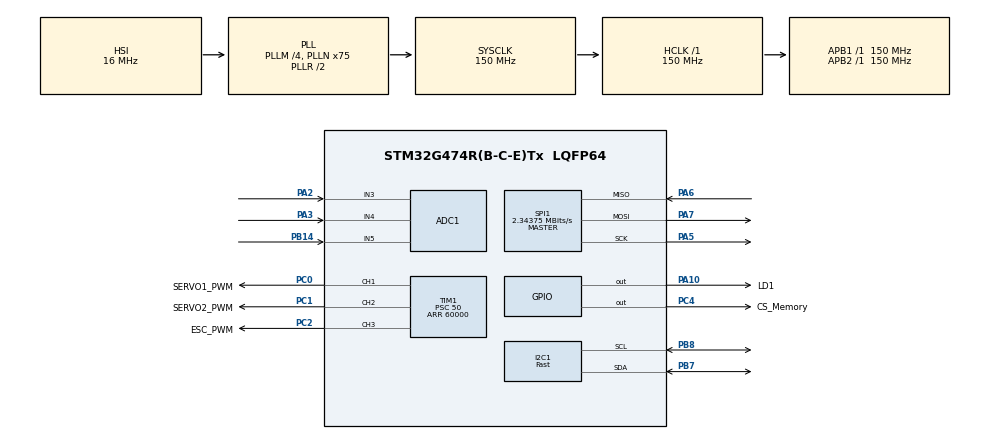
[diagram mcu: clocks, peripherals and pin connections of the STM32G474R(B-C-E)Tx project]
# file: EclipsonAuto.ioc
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ADC1.Channel-2\#ChannelRegularConversion=ADC_CHANNEL_4
ADC1.Channel-3\#ChannelRegularConversion=ADC_CHANNEL_5
ADC1.Channel-4\#ChannelRegularConversion=ADC_CHANNEL_3
ADC1.ContinuousConvMode=ENABLE
ADC1.DMAContinuousRequests=ENABLE
ADC1.DataAlign=ADC_DATAALIGN_RIGHT
ADC1.NbrOfConversion=3
ADC1.NbrOfConversionFlag=1
ADC1.OffsetNumber-2\#ChannelRegularConversion=ADC_OFFSET_NONE
ADC1.OffsetNumber-3\#ChannelRegularConversion=ADC_OFFSET_NONE
ADC1.OffsetNumber-4\#ChannelRegularConversion=ADC_OFFSET_NONE
ADC1.Overrun=ADC_OVR_DATA_OVERWRITTEN
ADC1.Rank-2\#ChannelRegularConversion=1
ADC1.Rank-3\#ChannelRegularConversion=2
ADC1.Rank-4\#ChannelRegularConversion=3
ADC1.SamplingTime-2\#ChannelRegularConversion=ADC_SAMPLETIME_92CYCLES_5
ADC1.SamplingTime-3\#ChannelRegularConversion=ADC_SAMPLETIME_92CYCLES_5
ADC1.SamplingTime-4\#ChannelRegularConversion=ADC_SAMPLETIME_92CYCLES_5
ADC1.master=1
Dma.ADC1.0.Direction=DMA_PERIPH_TO_MEMORY
Dma.ADC1.0.EventEnable=DISABLE
Dma.ADC1.0.Instance=DMA1_Channel1
Dma.ADC1.0.MemDataAlignment=DMA_MDATAALIGN_WORD
Dma.ADC1.0.MemInc=DMA_MINC_ENABLE
Dma.ADC1.0.Mode=DMA_CIRCULAR
Dma.ADC1.0.PeriphDataAlignment=DMA_PDATAALIGN_WORD
Dma.ADC1.0.PeriphInc=DMA_PINC_DISABLE
Dma.ADC1.0.Polarity=HAL_DMAMUX_REQ_GEN_RISING
Dma.ADC1.0.Priority=DMA_PRIORITY_LOW
Dma.ADC1.0.RequestNumber=1
Dma.ADC1.0.SignalID=NONE
Dma.ADC1.0.SyncEnable=DISABLE
Dma.ADC1.0.SyncPolarity=HAL_DMAMUX_SYNC_NO_EVENT
Dma.ADC1.0.SyncRequestNumber=1
Dma.ADC1.0.SyncSignalID=NONE
Dma.Request0=ADC1
I2C1.I2C_Speed_Mode=I2C_Fast
I2C1.Timing=0x00E063FF
Mcu.Family=STM32G4
Mcu.Name=STM32G474R(B-C-E)Tx
Mcu.Package=LQFP64
NVIC.DMA1_Channel1_IRQn=true\:0\:0\:false\:false\:true\:false\:true\:true
NVIC.PriorityGroup=NVIC_PRIORITYGROUP_4
PA10.GPIO_Label=LD1
PA10.Signal=GPIO_Output
PA13.Mode=Trace_Asynchronous_SW
PA13.Signal=SYS_JTMS-SWDIO
PA14.Mode=Trace_Asynchronous_SW
PA14.Signal=SYS_JTCK-SWCLK
PA2.Mode=IN3-Single-Ended
PA2.Signal=ADC1_IN3
PA3.Mode=IN4-Single-Ended
PA3.Signal=ADC1_IN4
PA5.GPIO_PuPd=GPIO_NOPULL
PA5.Mode=Full_Duplex_Master
PA5.Signal=SPI1_SCK
PA6.GPIO_PuPd=GPIO_NOPULL
PA6.Mode=Full_Duplex_Master
PA6.Signal=SPI1_MISO
PA7.GPIO_PuPd=GPIO_NOPULL
PA7.Mode=Full_Duplex_Master
PA7.Signal=SPI1_MOSI
PB14.Signal=SharedAnalog_PB14
PB3.Mode=Trace_Asynchronous_SW
PB3.Signal=SYS_JTDO-SWO
PB7.Mode=I2C
PB7.Signal=I2C1_SDA
PB8-BOOT0.Mode=I2C
PB8-BOOT0.Signal=I2C1_SCL
PC0.GPIO_Label=SERVO1_PWM
PC0.GPIO_ModeDefaultPP=GPIO_MODE_AF_OD
PC0.Signal=S_TIM1_CH1
PC1.GPIO_Label=SERVO2_PWM
PC1.GPIO_ModeDefaultPP=GPIO_MODE_AF_OD
PC1.Signal=S_TIM1_CH2
PC2.GPIO_Label=ESC_PWM
PC2.GPIO_ModeDefaultPP=GPIO_MODE_AF_OD
PC2.Signal=S_TIM1_CH3
PC4.GPIO_Label=CS_Memory
PC4.GPIO_PuPd=GPIO_PULLDOWN
PC4.Signal=GPIO_Output
ProjectManager.HeapSize=0x200
ProjectManager.StackSize=0x400
ProjectManager.TargetToolchain=STM32CubeIDE
RCC.ADC12Freq_Value=150000000
RCC.ADC345Freq_Value=150000000
RCC.AHBFreq_Value=150000000
RCC.APB1Freq_Value=150000000
RCC.APB1TimFreq_Value=150000000
RCC.APB2Freq_Value=150000000
RCC.APB2TimFreq_Value=150000000
RCC.CortexFreq_Value=150000000
RCC.EXTERNAL_CLOCK_VALUE=12288000
RCC.HCLKFreq_Value=150000000
RCC.HSE_VALUE=8000000
RCC.HSI48_VALUE=48000000
RCC.HSI_VALUE=16000000
RCC.LSE_VALUE=32768
RCC.PLLM=RCC_PLLM_DIV4
RCC.PLLN=75
RCC.SYSCLKFreq_VALUE=150000000
RCC.SYSCLKSource=RCC_SYSCLKSOURCE_PLLCLK
RCC.USBFreq_Value=150000000
RCC.VCOOutputFreq_Value=300000000
SH.S_TIM1_CH1.0=TIM1_CH1,PWM Generation1 CH1
SH.S_TIM1_CH2.0=TIM1_CH2,PWM Generation2 CH2
SH.S_TIM1_CH3.0=TIM1_CH3,PWM Generation3 CH3
SH.SharedAnalog_PB14.0=ADC4_IN4
SH.SharedAnalog_PB14.1=ADC1_IN5,IN5-Single-Ended
SPI1.BaudRatePrescaler=SPI_BAUDRATEPRESCALER_64
SPI1.CLKPhase=SPI_PHASE_2EDGE
SPI1.CLKPolarity=SPI_POLARITY_HIGH
SPI1.CalculateBaudRate=2.34375 MBits/s
SPI1.DataSize=SPI_DATASIZE_8BIT
SPI1.Direction=SPI_DIRECTION_2LINES
SPI1.Mode=SPI_MODE_MASTER
SPI1.VirtualType=VM_MASTER
TIM1.Channel-PWM\ Generation1\ CH1=TIM_CHANNEL_1
TIM1.Channel-PWM\ Generation2\ CH2=TIM_CHANNEL_2
TIM1.Channel-PWM\ Generation3\ CH3=TIM_CHANNEL_3
TIM1.PeriodNoDither=60000
TIM1.Prescaler=50
TIM1.PulseNoDither_3=3000
VP_TIM1_VS_ClockSourceINT.Mode=Internal
board=custom

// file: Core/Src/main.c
/* USER CODE BEGIN Header */
/**
  ******************************************************************************
  * @file           : main.c
  * @brief          : Main program body
  ******************************************************************************
  * @attention
  *
  * Copyright (c) 2023 STMicroelectronics.
  * All rights reserved.
  *
  * This software is licensed under terms that can be found in the LICENSE file
  * in the root directory of this software component.
  * If no LICENSE file comes with this software, it is provided AS-IS.
  *
  ******************************************************************************
  */
/* USER CODE END Header */
#include "main.h"

/* USER CODE BEGIN Includes */
#include "adc_voltage_current_measurement.h"
#include "mpu6050.h"
#include "at25x041b.h"
#include "propulsion_and_control.h"
#include "pid.h"
#include "wio-e5.h"
#include "l80-m39.h"
/* USER CODE END Includes */

ADC_HandleTypeDef hadc1;
DMA_HandleTypeDef hdma_adc1;
I2C_HandleTypeDef hi2c1;
SPI_HandleTypeDef hspi1;
TIM_HandleTypeDef htim1;

/* USER CODE BEGIN PV */

//-------------------------- Struct definition for motor control and sensor measurement--------------------------
POWER_t hpower;
MPU6050_t hmpu6050;
AT25X041B_t hmemory;
PROPULSION_t hcontrol;
COMMAND_t hcommand;

//-------------------------- Struct definition for PID --------------------------

arm_pid_instance_f32 hpid_pitch;
arm_pid_instance_f32 hpid_yaw;
arm_pid_instance_f32 hpid_roll;
arm_pid_instance_f32 hpid_speed;
arm_pid_instance_f32 hpid_altitude;

//Result of the ADC conversion --> made by DMA
uint32_t adc_conversion[ADC_CHANNEL_NUMBER];

/* USER CODE END PV */

void SystemClock_Config(void);
static void MX_GPIO_Init(void);
static void MX_DMA_Init(void);
static void MX_TIM1_Init(void);
static void MX_ADC1_Init(void);
static void MX_I2C1_Init(void);
static void MX_SPI1_Init(void);

int main(void)
{

  /* MCU Configuration--------------------------------------------------------*/

  /* Reset of all peripherals, Initializes the Flash interface and the Systick. */
  HAL_Init();

  /* Configure the system clock */
  SystemClock_Config();

  /* Initialize all configured peripherals */
  MX_GPIO_Init();
  MX_DMA_Init();
  MX_TIM1_Init();
  MX_ADC1_Init();
  MX_I2C1_Init();
  MX_SPI1_Init();
  /* USER CODE BEGIN 2 */
  HAL_ADCEx_Calibration_Start(&hadc1, ADC_SINGLE_ENDED);
  HAL_ADC_Start_DMA(&hadc1, &adc_conversion, ADC_CHANNEL_NUMBER);
  HAL_TIM_Base_Start(&htim1);
  HAL_TIM_PWM_Start(&htim1, TIM_CHANNEL_1);
  HAL_TIM_PWM_Start(&htim1, TIM_CHANNEL_2);
  HAL_TIM_PWM_Start(&htim1, TIM_CHANNEL_3);

  //-------------------------- Init for sensor and motor control --------------------------

  MPU6050_Init(&hi2c1,&hmpu6050);
  AT25X041B_Init(&hspi1,&hmemory,CS_Memory_GPIO_Port,CS_Memory_Pin);
  PropulsionAndControl_Init(&hcontrol, ESC_PWM_Pin, ESC_PWM_GPIO_Port, SERVO1_PWM_Pin, SERVO1_PWM_GPIO_Port, SERVO2_PWM_Pin, SERVO2_PWM_GPIO_Port, 3, 1, 2, &htim1);

  //-------------------------- Init for PID --------------------------
  Pid_Init(&hpid_altitude, PID_KP_ALTITUDE, PID_KI_ALTITUDE, PID_KD_ALTITUDE);
  Pid_Init(&hpid_speed, PID_KP_SPEED, PID_KI_SPEED, PID_KD_SPEED);
  Pid_Init(&hpid_roll, PID_KP_ROLL, PID_KI_ROLL, PID_KD_ROLL);
  Pid_Init(&hpid_pitch, PID_KP_PITCH, PID_KI_PITCH, PID_KD_PITCH);
  Pid_Init(&hpid_yaw, PID_KP_YAW, PID_KI_YAW, PID_KD_YAW);

  //test
  hcommand.pitch_angle = 10;
  /* USER CODE END 2 */

  /* Infinite loop */
  while (1)
  {

    /* USER CODE BEGIN 3 */

	  HAL_GPIO_TogglePin(LD1_GPIO_Port, LD1_Pin);
	  MPU6050_Get_Gyro(&hi2c1, &hmpu6050);
	  Pid_CompensatePitch(&hpid_pitch, &hcommand, &hmpu6050, &hcontrol);

	  HAL_Delay(250);

	  //CURRENT_Measurement_Calculation(&hpower,adc_conversion[ADC_CURRENT0_RANK],adc_conversion[ADC_CURRENT1_RANK]);
	  //Battery_Monitoring_Calculation(&hpower,adc_conversion[ADC_VOLTAGE_RANK]);
	  //MPU6050_Wakeup(&hi2c1,&hmpu6050);
	  //MPU6050_Get_Accel(&hi2c1,&hmpu6050);
	  //MPU6050_Get_Gyro(&hi2c1,&hmpu6050);

  }
  /* USER CODE END 3 */
}

void SystemClock_Config(void)
{
  RCC_OscInitTypeDef RCC_OscInitStruct = {0};
  RCC_ClkInitTypeDef RCC_ClkInitStruct = {0};

  /** Configure the main internal regulator output voltage
  */
  HAL_PWREx_ControlVoltageScaling(PWR_REGULATOR_VOLTAGE_SCALE1);

  /** Initializes the RCC Oscillators according to the specified parameters
  * in the RCC_OscInitTypeDef structure.
  */
  RCC_OscInitStruct.OscillatorType = RCC_OSCILLATORTYPE_HSI;
  RCC_OscInitStruct.HSIState = RCC_HSI_ON;
  RCC_OscInitStruct.HSICalibrationValue = RCC_HSICALIBRATION_DEFAULT;
  RCC_OscInitStruct.PLL.PLLState = RCC_PLL_ON;
  RCC_OscInitStruct.PLL.PLLSource = RCC_PLLSOURCE_HSI;
  RCC_OscInitStruct.PLL.PLLM = RCC_PLLM_DIV4;
  RCC_OscInitStruct.PLL.PLLN = 75;
  RCC_OscInitStruct.PLL.PLLP = RCC_PLLP_DIV2;
  RCC_OscInitStruct.PLL.PLLQ = RCC_PLLQ_DIV2;
  RCC_OscInitStruct.PLL.PLLR = RCC_PLLR_DIV2;
  if (HAL_RCC_OscConfig(&RCC_OscInitStruct) != HAL_OK)
  {
    Error_Handler();
  }

  /** Initializes the CPU, AHB and APB buses clocks
  */
  RCC_ClkInitStruct.ClockType = RCC_CLOCKTYPE_HCLK|RCC_CLOCKTYPE_SYSCLK
                              |RCC_CLOCKTYPE_PCLK1|RCC_CLOCKTYPE_PCLK2;
  RCC_ClkInitStruct.SYSCLKSource = RCC_SYSCLKSOURCE_PLLCLK;
  RCC_ClkInitStruct.AHBCLKDivider = RCC_SYSCLK_DIV1;
  RCC_ClkInitStruct.APB1CLKDivider = RCC_HCLK_DIV1;
  RCC_ClkInitStruct.APB2CLKDivider = RCC_HCLK_DIV1;

  if (HAL_RCC_ClockConfig(&RCC_ClkInitStruct, FLASH_LATENCY_4) != HAL_OK)
  {
    Error_Handler();
  }
}

static void MX_ADC1_Init(void)
{

  ADC_MultiModeTypeDef multimode = {0};
  ADC_ChannelConfTypeDef sConfig = {0};

  /** Common config
  */
  hadc1.Instance = ADC1;
  hadc1.Init.ClockPrescaler = ADC_CLOCK_SYNC_PCLK_DIV4;
  hadc1.Init.Resolution = ADC_RESOLUTION_12B;
  hadc1.Init.DataAlign = ADC_DATAALIGN_RIGHT;
  hadc1.Init.GainCompensation = 0;
  hadc1.Init.ScanConvMode = ADC_SCAN_ENABLE;
  hadc1.Init.EOCSelection = ADC_EOC_SINGLE_CONV;
  hadc1.Init.LowPowerAutoWait = DISABLE;
  hadc1.Init.ContinuousConvMode = ENABLE;
  hadc1.Init.NbrOfConversion = 3;
  hadc1.Init.DiscontinuousConvMode = DISABLE;
  hadc1.Init.ExternalTrigConv = ADC_SOFTWARE_START;
  hadc1.Init.ExternalTrigConvEdge = ADC_EXTERNALTRIGCONVEDGE_NONE;
  hadc1.Init.DMAContinuousRequests = ENABLE;
  hadc1.Init.Overrun = ADC_OVR_DATA_OVERWRITTEN;
  hadc1.Init.OversamplingMode = DISABLE;
  if (HAL_ADC_Init(&hadc1) != HAL_OK)
  {
    Error_Handler();
  }

  /** Configure the ADC multi-mode
  */
  multimode.Mode = ADC_MODE_INDEPENDENT;
  if (HAL_ADCEx_MultiModeConfigChannel(&hadc1, &multimode) != HAL_OK)
  {
    Error_Handler();
  }

  /** Configure Regular Channel
  */
  sConfig.Channel = ADC_CHANNEL_4;
  sConfig.Rank = ADC_REGULAR_RANK_1;
  sConfig.SamplingTime = ADC_SAMPLETIME_92CYCLES_5;
  sConfig.SingleDiff = ADC_SINGLE_ENDED;
  sConfig.OffsetNumber = ADC_OFFSET_NONE;
  sConfig.Offset = 0;
  if (HAL_ADC_ConfigChannel(&hadc1, &sConfig) != HAL_OK)
  {
    Error_Handler();
  }

  /** Configure Regular Channel
  */
  sConfig.Channel = ADC_CHANNEL_5;
  sConfig.Rank = ADC_REGULAR_RANK_2;
  if (HAL_ADC_ConfigChannel(&hadc1, &sConfig) != HAL_OK)
  {
    Error_Handler();
  }

  /** Configure Regular Channel
  */
  sConfig.Channel = ADC_CHANNEL_3;
  sConfig.Rank = ADC_REGULAR_RANK_3;
  if (HAL_ADC_ConfigChannel(&hadc1, &sConfig) != HAL_OK)
  {
    Error_Handler();
  }

}

static void MX_I2C1_Init(void)
{

  hi2c1.Instance = I2C1;
  hi2c1.Init.Timing = 0x00E063FF;
  hi2c1.Init.OwnAddress1 = 0;
  hi2c1.Init.AddressingMode = I2C_ADDRESSINGMODE_7BIT;
  hi2c1.Init.DualAddressMode = I2C_DUALADDRESS_DISABLE;
  hi2c1.Init.OwnAddress2 = 0;
  hi2c1.Init.OwnAddress2Masks = I2C_OA2_NOMASK;
  hi2c1.Init.GeneralCallMode = I2C_GENERALCALL_DISABLE;
  hi2c1.Init.NoStretchMode = I2C_NOSTRETCH_DISABLE;
  if (HAL_I2C_Init(&hi2c1) != HAL_OK)
  {
    Error_Handler();
  }

  /** Configure Analogue filter
  */
  if (HAL_I2CEx_ConfigAnalogFilter(&hi2c1, I2C_ANALOGFILTER_ENABLE) != HAL_OK)
  {
    Error_Handler();
  }

  /** Configure Digital filter
  */
  if (HAL_I2CEx_ConfigDigitalFilter(&hi2c1, 0) != HAL_OK)
  {
    Error_Handler();
  }

}

static void MX_SPI1_Init(void)
{

  /* SPI1 parameter configuration*/
  hspi1.Instance = SPI1;
  hspi1.Init.Mode = SPI_MODE_MASTER;
  hspi1.Init.Direction = SPI_DIRECTION_2LINES;
  hspi1.Init.DataSize = SPI_DATASIZE_8BIT;
  hspi1.Init.CLKPolarity = SPI_POLARITY_HIGH;
  hspi1.Init.CLKPhase = SPI_PHASE_2EDGE;
  hspi1.Init.NSS = SPI_NSS_SOFT;
  hspi1.Init.BaudRatePrescaler = SPI_BAUDRATEPRESCALER_64;
  hspi1.Init.FirstBit = SPI_FIRSTBIT_MSB;
  hspi1.Init.TIMode = SPI_TIMODE_DISABLE;
  hspi1.Init.CRCCalculation = SPI_CRCCALCULATION_DISABLE;
  hspi1.Init.CRCPolynomial = 7;
  hspi1.Init.CRCLength = SPI_CRC_LENGTH_DATASIZE;
  hspi1.Init.NSSPMode = SPI_NSS_PULSE_DISABLE;
  if (HAL_SPI_Init(&hspi1) != HAL_OK)
  {
    Error_Handler();
  }

}

static void MX_TIM1_Init(void)
{

  TIM_ClockConfigTypeDef sClockSourceConfig = {0};
  TIM_MasterConfigTypeDef sMasterConfig = {0};
  TIM_OC_InitTypeDef sConfigOC = {0};
  TIM_BreakDeadTimeConfigTypeDef sBreakDeadTimeConfig = {0};

  htim1.Instance = TIM1;
  htim1.Init.Prescaler = 50;
  htim1.Init.CounterMode = TIM_COUNTERMODE_UP;
  htim1.Init.Period = 60000;
  htim1.Init.ClockDivision = TIM_CLOCKDIVISION_DIV1;
  htim1.Init.RepetitionCounter = 0;
  htim1.Init.AutoReloadPreload = TIM_AUTORELOAD_PRELOAD_DISABLE;
  if (HAL_TIM_Base_Init(&htim1) != HAL_OK)
  {
    Error_Handler();
  }
  sClockSourceConfig.ClockSource = TIM_CLOCKSOURCE_INTERNAL;
  if (HAL_TIM_ConfigClockSource(&htim1, &sClockSourceConfig) != HAL_OK)
  {
    Error_Handler();
  }
  if (HAL_TIM_PWM_Init(&htim1) != HAL_OK)
  {
    Error_Handler();
  }
  sMasterConfig.MasterOutputTrigger = TIM_TRGO_RESET;
  sMasterConfig.MasterOutputTrigger2 = TIM_TRGO2_RESET;
  sMasterConfig.MasterSlaveMode = TIM_MASTERSLAVEMODE_DISABLE;
  if (HAL_TIMEx_MasterConfigSynchronization(&htim1, &sMasterConfig) != HAL_OK)
  {
    Error_Handler();
  }
  sConfigOC.OCMode = TIM_OCMODE_PWM1;
  sConfigOC.Pulse = 0;
  sConfigOC.OCPolarity = TIM_OCPOLARITY_HIGH;
  sConfigOC.OCNPolarity = TIM_OCNPOLARITY_HIGH;
  sConfigOC.OCFastMode = TIM_OCFAST_DISABLE;
  sConfigOC.OCIdleState = TIM_OCIDLESTATE_RESET;
  sConfigOC.OCNIdleState = TIM_OCNIDLESTATE_RESET;
  if (HAL_TIM_PWM_ConfigChannel(&htim1, &sConfigOC, TIM_CHANNEL_1) != HAL_OK)
  {
    Error_Handler();
  }
  if (HAL_TIM_PWM_ConfigChannel(&htim1, &sConfigOC, TIM_CHANNEL_2) != HAL_OK)
  {
    Error_Handler();
  }
  sConfigOC.Pulse = 3000;
  if (HAL_TIM_PWM_ConfigChannel(&htim1, &sConfigOC, TIM_CHANNEL_3) != HAL_OK)
  {
    Error_Handler();
  }
  sBreakDeadTimeConfig.OffStateRunMode = TIM_OSSR_DISABLE;
  sBreakDeadTimeConfig.OffStateIDLEMode = TIM_OSSI_DISABLE;
  sBreakDeadTimeConfig.LockLevel = TIM_LOCKLEVEL_OFF;
  sBreakDeadTimeConfig.DeadTime = 0;
  sBreakDeadTimeConfig.BreakState = TIM_BREAK_DISABLE;
  sBreakDeadTimeConfig.BreakPolarity = TIM_BREAKPOLARITY_HIGH;
  sBreakDeadTimeConfig.BreakFilter = 0;
  sBreakDeadTimeConfig.BreakAFMode = TIM_BREAK_AFMODE_INPUT;
  sBreakDeadTimeConfig.Break2State = TIM_BREAK2_DISABLE;
  sBreakDeadTimeConfig.Break2Polarity = TIM_BREAK2POLARITY_HIGH;
  sBreakDeadTimeConfig.Break2Filter = 0;
  sBreakDeadTimeConfig.Break2AFMode = TIM_BREAK_AFMODE_INPUT;
  sBreakDeadTimeConfig.AutomaticOutput = TIM_AUTOMATICOUTPUT_DISABLE;
  if (HAL_TIMEx_ConfigBreakDeadTime(&htim1, &sBreakDeadTimeConfig) != HAL_OK)
  {
    Error_Handler();
  }
  HAL_TIM_MspPostInit(&htim1);

}

static void MX_DMA_Init(void)
{

  /* DMA controller clock enable */
  __HAL_RCC_DMAMUX1_CLK_ENABLE();
  __HAL_RCC_DMA1_CLK_ENABLE();

  /* DMA interrupt init */
  /* DMA1_Channel1_IRQn interrupt configuration */
  HAL_NVIC_SetPriority(DMA1_Channel1_IRQn, 0, 0);
  HAL_NVIC_EnableIRQ(DMA1_Channel1_IRQn);

}

static void MX_GPIO_Init(void)
{
  GPIO_InitTypeDef GPIO_InitStruct = {0};

  /* GPIO Ports Clock Enable */
  __HAL_RCC_GPIOC_CLK_ENABLE();
  __HAL_RCC_GPIOA_CLK_ENABLE();
  __HAL_RCC_GPIOB_CLK_ENABLE();

  /*Configure GPIO pin Output Level */
  HAL_GPIO_WritePin(CS_Memory_GPIO_Port, CS_Memory_Pin, GPIO_PIN_RESET);

  /*Configure GPIO pin Output Level */
  HAL_GPIO_WritePin(LD1_GPIO_Port, LD1_Pin, GPIO_PIN_RESET);

  /*Configure GPIO pin : CS_Memory_Pin */
  GPIO_InitStruct.Pin = CS_Memory_Pin;
  GPIO_InitStruct.Mode = GPIO_MODE_OUTPUT_PP;
  GPIO_InitStruct.Pull = GPIO_PULLDOWN;
  GPIO_InitStruct.Speed = GPIO_SPEED_FREQ_LOW;
  HAL_GPIO_Init(CS_Memory_GPIO_Port, &GPIO_InitStruct);

  /*Configure GPIO pin : PB14 */
  GPIO_InitStruct.Pin = GPIO_PIN_14;
  GPIO_InitStruct.Mode = GPIO_MODE_ANALOG;
  GPIO_InitStruct.Pull = GPIO_NOPULL;
  HAL_GPIO_Init(GPIOB, &GPIO_InitStruct);

  /*Configure GPIO pin : LD1_Pin */
  GPIO_InitStruct.Pin = LD1_Pin;
  GPIO_InitStruct.Mode = GPIO_MODE_OUTPUT_PP;
  GPIO_InitStruct.Pull = GPIO_NOPULL;
  GPIO_InitStruct.Speed = GPIO_SPEED_FREQ_LOW;
  HAL_GPIO_Init(LD1_GPIO_Port, &GPIO_InitStruct);

}

/* USER CODE BEGIN 4 */

//Function definition

/* USER CODE END 4 */

void Error_Handler(void)
{
  __disable_irq();
  while (1)
  {
  }
}
